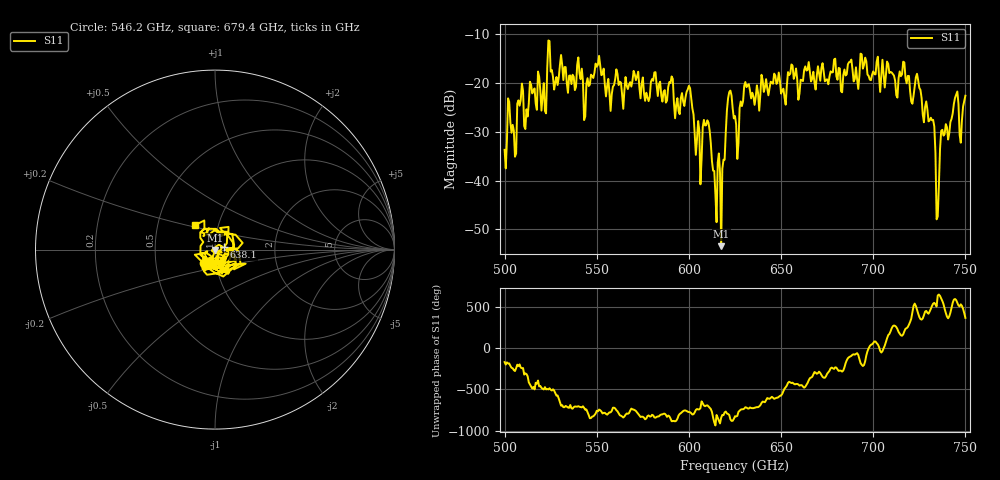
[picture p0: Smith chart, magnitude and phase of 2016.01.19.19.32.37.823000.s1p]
!Created with skrf (http://scikit-rf.org).
# GHz S RI R 50.0
!freq ReS11 ImS11
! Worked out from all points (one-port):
!   401 points, 500 GHz to 750 GHz, reference 50 ohm
!   lowest |S11| = -53.4 dB at 617.5 GHz (marker M1), VSWR 1.00, Z = 49.9 - j0.179 ohm
!   |S11| at or under -10 dB: start of sweep to end of sweep
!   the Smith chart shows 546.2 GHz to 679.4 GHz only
!   S11 on the Smith chart (normalised r, x): 546.2 GHz: 0.87, -0.13; 638.1 GHz: 1.11, +0.03; 679.4 GHz: 0.77, +0.22
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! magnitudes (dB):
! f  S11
! 500 GHz  -33.7
! 508.8 GHz  -23.5
! 511.9 GHz  -25.4
! 515 GHz  -22.2
! 521.2 GHz  -20.1
! 524.4 GHz  -11.5
! 531.2 GHz  -16.4
! 546.2 GHz  -20.4
! 562.5 GHz  -19.8
! 590 GHz  -20.1
! 593.8 GHz  -23.2
! 600 GHz  -20.6
! 605 GHz  -27.8
! 609.4 GHz  -28.7
! 613.8 GHz  -38.1
! 617.5 GHz  -53.4
! 621.9 GHz  -21.9
! 625 GHz  -26.8
! 631.2 GHz  -20.9
! 638.1 GHz  -25.7
! 656.2 GHz  -16.5
! 679.4 GHz  -15.1
! 687.5 GHz  -15.7
! 718.8 GHz  -18.6
! 731.9 GHz  -27.7
! 735 GHz  -47.4
! 738.1 GHz  -30.8
! 750 GHz  -22.7
